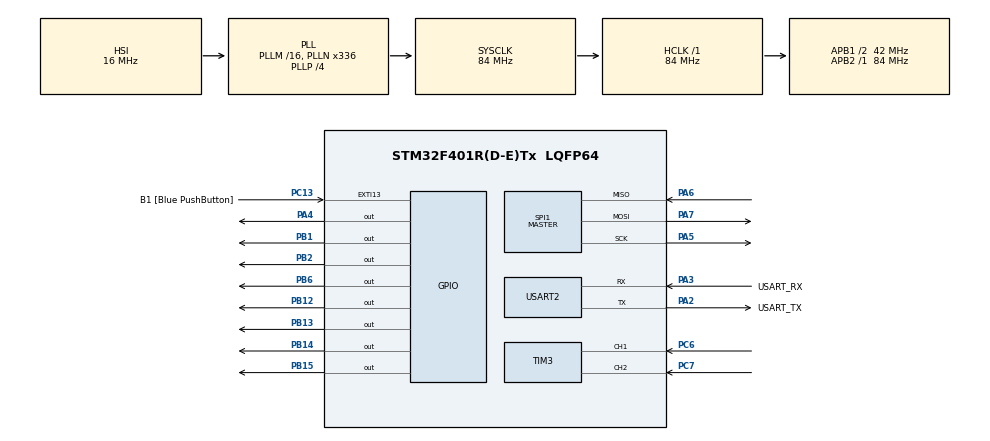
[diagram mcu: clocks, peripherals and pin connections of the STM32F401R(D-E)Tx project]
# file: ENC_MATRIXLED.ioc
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Dma.Request0=USART2_TX
Dma.Request1=SPI1_TX
Dma.SPI1_TX.1.Direction=DMA_MEMORY_TO_PERIPH
Dma.SPI1_TX.1.FIFOMode=DMA_FIFOMODE_DISABLE
Dma.SPI1_TX.1.Instance=DMA2_Stream3
Dma.SPI1_TX.1.MemDataAlignment=DMA_MDATAALIGN_BYTE
Dma.SPI1_TX.1.MemInc=DMA_MINC_ENABLE
Dma.SPI1_TX.1.Mode=DMA_NORMAL
Dma.SPI1_TX.1.PeriphDataAlignment=DMA_PDATAALIGN_BYTE
Dma.SPI1_TX.1.PeriphInc=DMA_PINC_DISABLE
Dma.SPI1_TX.1.Priority=DMA_PRIORITY_HIGH
Dma.USART2_TX.0.Direction=DMA_MEMORY_TO_PERIPH
Dma.USART2_TX.0.FIFOMode=DMA_FIFOMODE_DISABLE
Dma.USART2_TX.0.Instance=DMA1_Stream6
Dma.USART2_TX.0.MemDataAlignment=DMA_MDATAALIGN_BYTE
Dma.USART2_TX.0.MemInc=DMA_MINC_ENABLE
Dma.USART2_TX.0.Mode=DMA_NORMAL
Dma.USART2_TX.0.PeriphDataAlignment=DMA_PDATAALIGN_BYTE
Dma.USART2_TX.0.PeriphInc=DMA_PINC_DISABLE
Dma.USART2_TX.0.Priority=DMA_PRIORITY_HIGH
Mcu.Family=STM32F4
Mcu.Name=STM32F401R(D-E)Tx
Mcu.Package=LQFP64
NVIC.DMA1_Stream6_IRQn=true\:0\:0\:false\:false\:true\:false\:true\:true
NVIC.DMA2_Stream3_IRQn=true\:0\:0\:false\:false\:true\:false\:true\:true
NVIC.PriorityGroup=NVIC_PRIORITYGROUP_4
NVIC.SPI1_IRQn=true\:1\:0\:true\:false\:true\:true\:true\:true
NVIC.TIM4_IRQn=true\:2\:0\:true\:false\:true\:true\:true\:true
PA13.GPIO_Label=TMS
PA13.Mode=Trace_Asynchronous_SW
PA13.Signal=SYS_JTMS-SWDIO
PA14.GPIO_Label=TCK
PA14.Mode=Trace_Asynchronous_SW
PA14.Signal=SYS_JTCK-SWCLK
PA2.GPIO_Label=USART_TX
PA2.GPIO_Mode=GPIO_MODE_AF_PP
PA2.GPIO_PuPd=GPIO_NOPULL
PA2.GPIO_Speed=GPIO_SPEED_FREQ_LOW
PA2.Mode=Asynchronous
PA2.Signal=USART2_TX
PA3.GPIO_Label=USART_RX
PA3.GPIO_Mode=GPIO_MODE_AF_PP
PA3.GPIO_PuPd=GPIO_NOPULL
PA3.GPIO_Speed=GPIO_SPEED_FREQ_LOW
PA3.Mode=Asynchronous
PA3.Signal=USART2_RX
PA4.Signal=GPIO_Output
PA5.Mode=Full_Duplex_Master
PA5.Signal=SPI1_SCK
PA6.Mode=Full_Duplex_Master
PA6.Signal=SPI1_MISO
PA7.Mode=Full_Duplex_Master
PA7.Signal=SPI1_MOSI
PB1.Signal=GPIO_Output
PB12.Signal=GPIO_Output
PB13.Signal=GPIO_Output
PB14.Signal=GPIO_Output
PB15.Signal=GPIO_Output
PB2.Signal=GPIO_Output
PB3.GPIO_Label=SWO
PB3.Mode=Trace_Asynchronous_SW
PB3.Signal=SYS_JTDO-SWO
PB6.Signal=GPIO_Output
PC13-ANTI_TAMP.GPIO_Label=B1 [Blue PushButton]
PC13-ANTI_TAMP.GPIO_ModeDefaultEXTI=GPIO_MODE_IT_FALLING
PC13-ANTI_TAMP.GPIO_PuPd=GPIO_NOPULL
PC13-ANTI_TAMP.Signal=GPXTI13
PC14-OSC32_IN.Mode=LSE-External-Oscillator
PC14-OSC32_IN.Signal=RCC_OSC32_IN
PC15-OSC32_OUT.Mode=LSE-External-Oscillator
PC15-OSC32_OUT.Signal=RCC_OSC32_OUT
PC6.Signal=S_TIM3_CH1
PC7.Signal=S_TIM3_CH2
PH0\ -\ OSC_IN.Mode=HSE-External-Clock-Source
PH0\ -\ OSC_IN.Signal=RCC_OSC_IN
PH1\ -\ OSC_OUT.Mode=HSE-External-Clock-Source
PH1\ -\ OSC_OUT.Signal=RCC_OSC_OUT
ProjectManager.HeapSize=0x200
ProjectManager.StackSize=0x400
ProjectManager.TargetToolchain=STM32CubeIDE
RCC.48MHZClocksFreq_Value=48000000
RCC.AHBFreq_Value=84000000
RCC.APB1CLKDivider=RCC_HCLK_DIV2
RCC.APB1Freq_Value=42000000
RCC.APB1TimFreq_Value=84000000
RCC.APB2Freq_Value=84000000
RCC.APB2TimFreq_Value=84000000
RCC.CortexFreq_Value=84000000
RCC.HCLKFreq_Value=84000000
RCC.HSE_VALUE=8000000
RCC.HSI_VALUE=16000000
RCC.PLLN=336
RCC.PLLP=RCC_PLLP_DIV4
RCC.PLLQ=7
RCC.SYSCLKFreq_VALUE=84000000
RCC.SYSCLKSource=RCC_SYSCLKSOURCE_PLLCLK
RCC.VCOOutputFreq_Value=336000000
SH.S_TIM3_CH1.0=TIM3_CH1,Encoder_Interface
SH.S_TIM3_CH2.0=TIM3_CH2,Encoder_Interface
SPI1.BaudRatePrescaler=SPI_BAUDRATEPRESCALER_4
SPI1.Direction=SPI_DIRECTION_2LINES
SPI1.Mode=SPI_MODE_MASTER
SPI1.VirtualType=VM_MASTER
TIM3.ClockDivision=TIM_CLOCKDIVISION_DIV4
TIM3.IC1Filter=15
TIM3.IC1Polarity=TIM_ICPOLARITY_FALLING
TIM4.Period=3359
TIM4.Prescaler=99
USART2.VirtualMode=VM_ASYNC
VP_TIM4_VS_ClockSourceINT.Mode=Internal
board=NUCLEO-F401RE

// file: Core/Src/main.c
/* USER CODE BEGIN Header */
/**
  ******************************************************************************
  * @file           : main.c
  * @brief          : Main program body
  ******************************************************************************
  * @attention
  *
  * Copyright (c) 2026 STMicroelectronics.
  * All rights reserved.
  *
  * This software is licensed under terms that can be found in the LICENSE file
  * in the root directory of this software component.
  * If no LICENSE file comes with this software, it is provided AS-IS.
  *
  ******************************************************************************
  */
/* USER CODE END Header */
#include "main.h"

/* USER CODE BEGIN Includes */
#include "PMDB16_LCD.h"
#include "stdio.h"
#include "string.h"

/* USER CODE END Includes */

/* USER CODE BEGIN PTD */
typedef enum {
    MINUS  = 0,
    PLUS = 1,
    SPENTO  = 2
} LedState_t;
/* USER CODE END PTD */

/* USER CODE BEGIN PD */
#define STEPS_PER_REVOLUTION 24

#define NUM_COLS 5
#define NUM_SYMBOLS 3

#define PORT GPIOB
#define PIN GPIO_PIN_6
/* USER CODE END PD */

SPI_HandleTypeDef hspi1;
DMA_HandleTypeDef hdma_spi1_tx;

TIM_HandleTypeDef htim3;
TIM_HandleTypeDef htim4;

UART_HandleTypeDef huart2;
DMA_HandleTypeDef hdma_usart2_tx;

/* USER CODE BEGIN PV */

// UART
//char tx_buffer[50];

// LCD
char line1[17];
char line2[17];

// ENCODER
float rpm;
static uint16_t value;
static uint16_t past_value=0;
static int32_t position=0;

// Timer 1Hz
volatile uint8_t counter_1Hz=0;
volatile uint8_t timer_1Hz=0;

// LED MATRIX
// Definizione Simboli
static const uint8_t SYMBOL_COL[NUM_SYMBOLS][NUM_COLS] = {{ 16,  8,  4,  2,  1 },{ 16,  8,  4,  2,  1 }, {16, 8,4,2,1}};
static const uint8_t SYMBOL_ROW[NUM_SYMBOLS][NUM_COLS] = {{ 8, 8 , 8 , 8 , 8  },{8 ,8 ,62 ,8 , 8 }, {0,0,0,0,0}}; // "-", "+", "Spento"

// Contatori
static int col_cnt = 0; // Colonna a cui siamo arrivati = 0:NUM_COLS-1

LedState_t stato=SPENTO;

/* USER CODE END PV */

void SystemClock_Config(void);
static void MX_GPIO_Init(void);
static void MX_DMA_Init(void);
static void MX_USART2_UART_Init(void);
static void MX_TIM3_Init(void);
static void MX_SPI1_Init(void);
static void MX_TIM4_Init(void);

/* USER CODE BEGIN 0 */
static inline void spi_send(uint8_t col, uint8_t row){
	static uint8_t buffer[2]; // 2 byte
	// DAISY RING
	buffer[0]=row; // prima la riga
	buffer[1]=col; // poi la colonna

	// Ogni 4 ms trasmettiamo (refreshamo)
	HAL_SPI_Transmit_DMA(&hspi1, buffer, 2);
}

void HAL_SPI_TxCpltCallback(SPI_HandleTypeDef *hspi){
	if(hspi->Instance==SPI1){
		// Una volta terminata la comunicazione dei 2 byte
		// diamo un impulso su RCLK per far scattare il latch
		// dei due shift register
		HAL_GPIO_WritePin(PORT, PIN, GPIO_PIN_SET);
		HAL_GPIO_WritePin(PORT, PIN, GPIO_PIN_RESET);
	}
}
void HAL_TIM_PeriodElapsedCallback(TIM_HandleTypeDef *htim)
{
	// CALLBACK CAMBIO COLONNA (4ms)
    if (htim->Instance == TIM4){
    	counter_1Hz++;
    	if(counter_1Hz==250){ //4ms * 250 = 1s (1Hz)
    		timer_1Hz=1;
    		counter_1Hz=0;
    	}

        // refresh colonna
        spi_send(SYMBOL_COL[stato][col_cnt], SYMBOL_ROW[stato][col_cnt]);
        col_cnt++;
        if (col_cnt == NUM_COLS){
            col_cnt = 0;
        }
    }
}

/* USER CODE END 0 */

int main(void)
{

  /* MCU Configuration--------------------------------------------------------*/

  /* Reset of all peripherals, Initializes the Flash interface and the Systick. */
  HAL_Init();

  /* Configure the system clock */
  SystemClock_Config();

  /* Initialize all configured peripherals */
  MX_GPIO_Init();
  MX_DMA_Init();
  MX_USART2_UART_Init();
  MX_TIM3_Init();
  MX_SPI1_Init();
  MX_TIM4_Init();
  /* USER CODE BEGIN 2 */
  HAL_TIM_Encoder_Start(&htim3, TIM_CHANNEL_ALL); // Inizializza Encoder

  HAL_TIM_Base_Start_IT(&htim4); // Interrupt 4ms colonne LED
  lcd_initialize(); // LCD
  lcd_backlight_ON();

  /* USER CODE END 2 */

  /* Infinite loop */
  while (1)
  {

    /* USER CODE BEGIN 3 */
	  if(timer_1Hz){
		  timer_1Hz=0;

		value = __HAL_TIM_GET_COUNTER(&htim3); // Leggiamo il valore del Counter

		int16_t delta = (int16_t) (value-past_value); // Calcoliamo di quanto ci siamo spostati

		position+=delta; // La posizione accumula gli step

		rpm = ((float)delta/STEPS_PER_REVOLUTION)*60.0f; // Revolutions Per Minute
		// delta viene diviso per il numero di step in una rivoluzione, moltiplicato per 60s,
		// moltiplicato per f=1Hz in questo caso

		past_value=value; // Aggiorniamo

		if(rpm>0.0f){
			stato=PLUS;
		}else if(rpm<0.0f){
			stato=MINUS;
		}else{
			stato=SPENTO;
		}

		  //LCD
		  sprintf(line1, "Pos: %ld", position);
		  sprintf(line2, "RPM: %+.1f", rpm);
		  lcd_clear();
		  lcd_println(line1, 0);
		  lcd_println(line2, 1);

		  // UART
		  //int len = sprintf(tx_buffer, "pos= %1d, rpm = %+.1f \r\n", position, rpm);
		  //HAL_UART_Transmit_DMA(&huart2, (uint8_t*)tx_buffer, len);
	  }
  }
  /* USER CODE END 3 */
}

void SystemClock_Config(void)
{
  RCC_OscInitTypeDef RCC_OscInitStruct = {0};
  RCC_ClkInitTypeDef RCC_ClkInitStruct = {0};

  /** Configure the main internal regulator output voltage
  */
  __HAL_RCC_PWR_CLK_ENABLE();
  __HAL_PWR_VOLTAGESCALING_CONFIG(PWR_REGULATOR_VOLTAGE_SCALE2);

  /** Initializes the RCC Oscillators according to the specified parameters
  * in the RCC_OscInitTypeDef structure.
  */
  RCC_OscInitStruct.OscillatorType = RCC_OSCILLATORTYPE_HSI;
  RCC_OscInitStruct.HSIState = RCC_HSI_ON;
  RCC_OscInitStruct.HSICalibrationValue = RCC_HSICALIBRATION_DEFAULT;
  RCC_OscInitStruct.PLL.PLLState = RCC_PLL_ON;
  RCC_OscInitStruct.PLL.PLLSource = RCC_PLLSOURCE_HSI;
  RCC_OscInitStruct.PLL.PLLM = 16;
  RCC_OscInitStruct.PLL.PLLN = 336;
  RCC_OscInitStruct.PLL.PLLP = RCC_PLLP_DIV4;
  RCC_OscInitStruct.PLL.PLLQ = 7;
  if (HAL_RCC_OscConfig(&RCC_OscInitStruct) != HAL_OK)
  {
    Error_Handler();
  }

  /** Initializes the CPU, AHB and APB buses clocks
  */
  RCC_ClkInitStruct.ClockType = RCC_CLOCKTYPE_HCLK|RCC_CLOCKTYPE_SYSCLK
                              |RCC_CLOCKTYPE_PCLK1|RCC_CLOCKTYPE_PCLK2;
  RCC_ClkInitStruct.SYSCLKSource = RCC_SYSCLKSOURCE_PLLCLK;
  RCC_ClkInitStruct.AHBCLKDivider = RCC_SYSCLK_DIV1;
  RCC_ClkInitStruct.APB1CLKDivider = RCC_HCLK_DIV2;
  RCC_ClkInitStruct.APB2CLKDivider = RCC_HCLK_DIV1;

  if (HAL_RCC_ClockConfig(&RCC_ClkInitStruct, FLASH_LATENCY_2) != HAL_OK)
  {
    Error_Handler();
  }
}

static void MX_SPI1_Init(void)
{

  /* SPI1 parameter configuration*/
  hspi1.Instance = SPI1;
  hspi1.Init.Mode = SPI_MODE_MASTER;
  hspi1.Init.Direction = SPI_DIRECTION_2LINES;
  hspi1.Init.DataSize = SPI_DATASIZE_8BIT;
  hspi1.Init.CLKPolarity = SPI_POLARITY_LOW;
  hspi1.Init.CLKPhase = SPI_PHASE_1EDGE;
  hspi1.Init.NSS = SPI_NSS_SOFT;
  hspi1.Init.BaudRatePrescaler = SPI_BAUDRATEPRESCALER_4;
  hspi1.Init.FirstBit = SPI_FIRSTBIT_MSB;
  hspi1.Init.TIMode = SPI_TIMODE_DISABLE;
  hspi1.Init.CRCCalculation = SPI_CRCCALCULATION_DISABLE;
  hspi1.Init.CRCPolynomial = 10;
  if (HAL_SPI_Init(&hspi1) != HAL_OK)
  {
    Error_Handler();
  }

}

static void MX_TIM3_Init(void)
{

  TIM_Encoder_InitTypeDef sConfig = {0};
  TIM_MasterConfigTypeDef sMasterConfig = {0};

  htim3.Instance = TIM3;
  htim3.Init.Prescaler = 0;
  htim3.Init.CounterMode = TIM_COUNTERMODE_UP;
  htim3.Init.Period = 65535;
  htim3.Init.ClockDivision = TIM_CLOCKDIVISION_DIV4;
  htim3.Init.AutoReloadPreload = TIM_AUTORELOAD_PRELOAD_DISABLE;
  sConfig.EncoderMode = TIM_ENCODERMODE_TI1;
  sConfig.IC1Polarity = TIM_ICPOLARITY_FALLING;
  sConfig.IC1Selection = TIM_ICSELECTION_DIRECTTI;
  sConfig.IC1Prescaler = TIM_ICPSC_DIV1;
  sConfig.IC1Filter = 15;
  sConfig.IC2Polarity = TIM_ICPOLARITY_RISING;
  sConfig.IC2Selection = TIM_ICSELECTION_DIRECTTI;
  sConfig.IC2Prescaler = TIM_ICPSC_DIV1;
  sConfig.IC2Filter = 0;
  if (HAL_TIM_Encoder_Init(&htim3, &sConfig) != HAL_OK)
  {
    Error_Handler();
  }
  sMasterConfig.MasterOutputTrigger = TIM_TRGO_RESET;
  sMasterConfig.MasterSlaveMode = TIM_MASTERSLAVEMODE_DISABLE;
  if (HAL_TIMEx_MasterConfigSynchronization(&htim3, &sMasterConfig) != HAL_OK)
  {
    Error_Handler();
  }

}

static void MX_TIM4_Init(void)
{

  TIM_ClockConfigTypeDef sClockSourceConfig = {0};
  TIM_MasterConfigTypeDef sMasterConfig = {0};

  htim4.Instance = TIM4;
  htim4.Init.Prescaler = 99;
  htim4.Init.CounterMode = TIM_COUNTERMODE_UP;
  htim4.Init.Period = 3359;
  htim4.Init.ClockDivision = TIM_CLOCKDIVISION_DIV1;
  htim4.Init.AutoReloadPreload = TIM_AUTORELOAD_PRELOAD_DISABLE;
  if (HAL_TIM_Base_Init(&htim4) != HAL_OK)
  {
    Error_Handler();
  }
  sClockSourceConfig.ClockSource = TIM_CLOCKSOURCE_INTERNAL;
  if (HAL_TIM_ConfigClockSource(&htim4, &sClockSourceConfig) != HAL_OK)
  {
    Error_Handler();
  }
  sMasterConfig.MasterOutputTrigger = TIM_TRGO_RESET;
  sMasterConfig.MasterSlaveMode = TIM_MASTERSLAVEMODE_DISABLE;
  if (HAL_TIMEx_MasterConfigSynchronization(&htim4, &sMasterConfig) != HAL_OK)
  {
    Error_Handler();
  }

}

static void MX_USART2_UART_Init(void)
{

  huart2.Instance = USART2;
  huart2.Init.BaudRate = 115200;
  huart2.Init.WordLength = UART_WORDLENGTH_8B;
  huart2.Init.StopBits = UART_STOPBITS_1;
  huart2.Init.Parity = UART_PARITY_NONE;
  huart2.Init.Mode = UART_MODE_TX_RX;
  huart2.Init.HwFlowCtl = UART_HWCONTROL_NONE;
  huart2.Init.OverSampling = UART_OVERSAMPLING_16;
  if (HAL_UART_Init(&huart2) != HAL_OK)
  {
    Error_Handler();
  }

}

static void MX_DMA_Init(void)
{

  /* DMA controller clock enable */
  __HAL_RCC_DMA1_CLK_ENABLE();
  __HAL_RCC_DMA2_CLK_ENABLE();

  /* DMA interrupt init */
  /* DMA1_Stream6_IRQn interrupt configuration */
  HAL_NVIC_SetPriority(DMA1_Stream6_IRQn, 0, 0);
  HAL_NVIC_EnableIRQ(DMA1_Stream6_IRQn);
  /* DMA2_Stream3_IRQn interrupt configuration */
  HAL_NVIC_SetPriority(DMA2_Stream3_IRQn, 0, 0);
  HAL_NVIC_EnableIRQ(DMA2_Stream3_IRQn);

}

static void MX_GPIO_Init(void)
{
  GPIO_InitTypeDef GPIO_InitStruct = {0};

  /* GPIO Ports Clock Enable */
  __HAL_RCC_GPIOC_CLK_ENABLE();
  __HAL_RCC_GPIOH_CLK_ENABLE();
  __HAL_RCC_GPIOA_CLK_ENABLE();
  __HAL_RCC_GPIOB_CLK_ENABLE();

  /*Configure GPIO pin Output Level */
  HAL_GPIO_WritePin(GPIOA, GPIO_PIN_4, GPIO_PIN_RESET);

  /*Configure GPIO pin Output Level */
  HAL_GPIO_WritePin(GPIOB, GPIO_PIN_1|GPIO_PIN_2|GPIO_PIN_12|GPIO_PIN_13
                          |GPIO_PIN_14|GPIO_PIN_15|GPIO_PIN_6, GPIO_PIN_RESET);

  /*Configure GPIO pin : B1_Pin */
  GPIO_InitStruct.Pin = B1_Pin;
  GPIO_InitStruct.Mode = GPIO_MODE_IT_FALLING;
  GPIO_InitStruct.Pull = GPIO_NOPULL;
  HAL_GPIO_Init(B1_GPIO_Port, &GPIO_InitStruct);

  /*Configure GPIO pin : PA4 */
  GPIO_InitStruct.Pin = GPIO_PIN_4;
  GPIO_InitStruct.Mode = GPIO_MODE_OUTPUT_PP;
  GPIO_InitStruct.Pull = GPIO_NOPULL;
  GPIO_InitStruct.Speed = GPIO_SPEED_FREQ_LOW;
  HAL_GPIO_Init(GPIOA, &GPIO_InitStruct);

  /*Configure GPIO pins : PB1 PB2 PB12 PB13
                           PB14 PB15 PB6 */
  GPIO_InitStruct.Pin = GPIO_PIN_1|GPIO_PIN_2|GPIO_PIN_12|GPIO_PIN_13
                          |GPIO_PIN_14|GPIO_PIN_15|GPIO_PIN_6;
  GPIO_InitStruct.Mode = GPIO_MODE_OUTPUT_PP;
  GPIO_InitStruct.Pull = GPIO_NOPULL;
  GPIO_InitStruct.Speed = GPIO_SPEED_FREQ_LOW;
  HAL_GPIO_Init(GPIOB, &GPIO_InitStruct);

}

void Error_Handler(void)
{
  __disable_irq();
  while (1)
  {
  }
}
